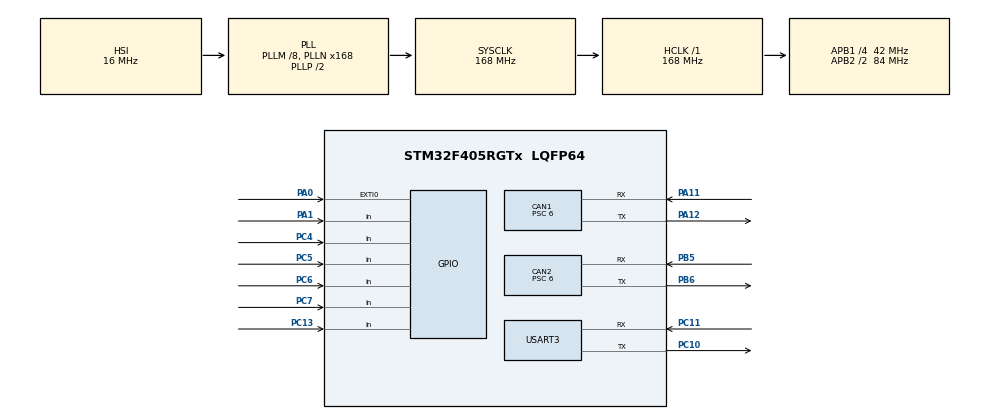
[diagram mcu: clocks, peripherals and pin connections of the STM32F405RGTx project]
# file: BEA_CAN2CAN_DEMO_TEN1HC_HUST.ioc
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ADC1.Channel-13\#ChannelRegularConversion=ADC_CHANNEL_TEMPSENSOR
ADC1.DMAContinuousRequests=ENABLE
ADC1.NbrOfConversion=1
ADC1.NbrOfConversionFlag=1
ADC1.Rank-13\#ChannelRegularConversion=1
ADC1.SamplingTime-13\#ChannelRegularConversion=ADC_SAMPLETIME_480CYCLES
ADC1.master=1
CAN1.BS1=CAN_BS1_10TQ
CAN1.BS2=CAN_BS2_3TQ
CAN1.CalculateBaudRate=500000
CAN1.CalculateTimeBit=2000
CAN1.CalculateTimeQuantum=142.85714285714286
CAN1.Prescaler=6
CAN1.SJW=CAN_SJW_2TQ
CAN2.BS1=CAN_BS1_10TQ
CAN2.BS2=CAN_BS2_3TQ
CAN2.CalculateBaudRate=500000
CAN2.CalculateTimeBit=2000
CAN2.CalculateTimeQuantum=142.85714285714286
CAN2.Prescaler=6
CAN2.SJW=CAN_SJW_2TQ
Dma.ADC1.0.Direction=DMA_PERIPH_TO_MEMORY
Dma.ADC1.0.FIFOMode=DMA_FIFOMODE_DISABLE
Dma.ADC1.0.Instance=DMA2_Stream0
Dma.ADC1.0.MemDataAlignment=DMA_MDATAALIGN_HALFWORD
Dma.ADC1.0.MemInc=DMA_MINC_ENABLE
Dma.ADC1.0.Mode=DMA_CIRCULAR
Dma.ADC1.0.PeriphDataAlignment=DMA_PDATAALIGN_HALFWORD
Dma.ADC1.0.PeriphInc=DMA_PINC_DISABLE
Dma.ADC1.0.Priority=DMA_PRIORITY_MEDIUM
Dma.Request0=ADC1
Mcu.Family=STM32F4
Mcu.Name=STM32F405RGTx
Mcu.Package=LQFP64
NVIC.CAN1_RX0_IRQn=true\:2\:0\:true\:false\:true\:true\:true\:true
NVIC.CAN2_RX0_IRQn=true\:2\:0\:true\:false\:true\:true\:true\:true
NVIC.DMA2_Stream0_IRQn=true\:0\:0\:false\:false\:true\:false\:true\:true
NVIC.EXTI0_IRQn=true\:1\:0\:true\:false\:true\:true\:true\:true
NVIC.PriorityGroup=NVIC_PRIORITYGROUP_4
NVIC.USART3_IRQn=true\:1\:0\:true\:false\:true\:true\:true\:true
PA0-WKUP.GPIO_ModeDefaultEXTI=GPIO_MODE_IT_FALLING
PA0-WKUP.GPIO_PuPd=GPIO_PULLUP
PA0-WKUP.Signal=GPXTI0
PA1.GPIO_PuPd=GPIO_PULLUP
PA1.Signal=GPIO_Input
PA11.Mode=CAN_Activate
PA11.Signal=CAN1_RX
PA12.Mode=CAN_Activate
PA12.Signal=CAN1_TX
PB5.Mode=CAN_Activate
PB5.Signal=CAN2_RX
PB6.Mode=CAN_Activate
PB6.Signal=CAN2_TX
PC10.Mode=Asynchronous
PC10.Signal=USART3_TX
PC11.Mode=Asynchronous
PC11.Signal=USART3_RX
PC13-ANTI_TAMP.GPIO_PuPd=GPIO_PULLUP
PC13-ANTI_TAMP.Signal=GPIO_Input
PC4.GPIO_PuPd=GPIO_PULLUP
PC4.Signal=GPIO_Input
PC5.GPIO_PuPd=GPIO_PULLUP
PC5.Signal=GPIO_Input
PC6.GPIO_PuPd=GPIO_PULLUP
PC6.Signal=GPIO_Input
PC7.GPIO_PuPd=GPIO_PULLUP
PC7.Signal=GPIO_Input
PH0-OSC_IN.Mode=HSE-External-Oscillator
PH0-OSC_IN.Signal=RCC_OSC_IN
PH1-OSC_OUT.Mode=HSE-External-Oscillator
PH1-OSC_OUT.Signal=RCC_OSC_OUT
ProjectManager.HeapSize=0x200
ProjectManager.StackSize=0x400
ProjectManager.TargetToolchain=STM32CubeIDE
RCC.48MHZClocksFreq_Value=84000000
RCC.AHBFreq_Value=168000000
RCC.APB1CLKDivider=RCC_HCLK_DIV4
RCC.APB1Freq_Value=42000000
RCC.APB1TimFreq_Value=84000000
RCC.APB2CLKDivider=RCC_HCLK_DIV2
RCC.APB2Freq_Value=84000000
RCC.APB2TimFreq_Value=168000000
RCC.CortexFreq_Value=168000000
RCC.HCLKFreq_Value=168000000
RCC.HSE_VALUE=8000000
RCC.HSI_VALUE=16000000
RCC.LSE_VALUE=32768
RCC.PLLM=8
RCC.PLLN=168
RCC.SYSCLKFreq_VALUE=168000000
RCC.SYSCLKSource=RCC_SYSCLKSOURCE_PLLCLK
RCC.VCOOutputFreq_Value=336000000
USART3.VirtualMode=VM_ASYNC
VP_ADC1_TempSens_Input.Mode=IN-TempSens
board=custom

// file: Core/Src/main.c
/* USER CODE BEGIN Header */
/**
  ******************************************************************************
  * @file           : main.c
  * @brief          : Main program body
  ******************************************************************************
  * @attention
  *
  * Copyright (c) 2023 STMicroelectronics.
  * All rights reserved.
  *
  * This software is licensed under terms that can be found in the LICENSE file
  * in the root directory of this software component.
  * If no LICENSE file comes with this software, it is provided AS-IS.
  *
  ******************************************************************************
  */
/* USER CODE END Header */
#include "main.h"
#include "lcd_hal.h"

/* USER CODE BEGIN PD */
/* =========================================================================
   CẤU HÌNH CHẾ ĐỘ HOẠT ĐỘNG:
   - 1 (HOME MODE): Ở nhà tự test -> CAN2 tự phát giả lập 0x0A2 (20ms).
   - 0 (EXAM / EXT MODE): Đi thi / Nối board ngoài -> CAN2 NGỪNG phát 0x0A2.
     Board ngoài sẽ phát 0x0A2. CAN2 vẫn chạy bình thường làm ECU cho bài UDS.
   ========================================================================= */
#define CONFIG_SIMULATE_CAN2_AT_HOME    1
/* USER CODE END PD */

ADC_HandleTypeDef hadc1;
DMA_HandleTypeDef hdma_adc1;

CAN_HandleTypeDef hcan1;
CAN_HandleTypeDef hcan2;

UART_HandleTypeDef huart3;

/* USER CODE BEGIN PV */
uint8_t uart3_receive;

extern uint8_t g_Security_Unlocked;
extern uint32_t g_Security_Unlock_Timestamp;

extern uint16_t g_Pending_New_CAN_ID;
extern uint8_t  g_Pending_ID_Ready;

uint16_t g_Current_CAN_ID = 0x012; // ID thuc te phat cua Bai 1
uint16_t g_TemperatureSensorRawValue_u16[1];

CAN_TxHeaderTypeDef CAN1_pHeader;
CAN_RxHeaderTypeDef CAN1_pHeaderRx;
CAN_FilterTypeDef CAN1_sFilterConfig;
CAN_TxHeaderTypeDef CAN2_pHeader;
CAN_RxHeaderTypeDef CAN2_pHeaderRx;
CAN_FilterTypeDef CAN2_sFilterConfig;
uint32_t CAN1_pTxMailbox;
uint32_t CAN2_pTxMailbox;

volatile uint16_t NumBytesReq = 0;
volatile uint8_t  g_Uds_Cmd_Ready = 0;
volatile uint32_t g_Last_Uart_Rx_Tick = 0;
uint8_t  REQ_BUFFER  [4096];
uint8_t  REQ_1BYTE_DATA;

uint8_t CAN1_DATA_TX[8] = {0x00,0x00,0x00,0x00,0x00,0x00,0x00,0x00};
uint8_t CAN1_DATA_RX[8] = {0x00,0x00,0x00,0x00,0x00,0x00,0x00,0x00};
uint8_t CAN2_DATA_TX[8] = {0x00,0x00,0x00,0x00,0x00,0x00,0x00,0x00};
uint8_t CAN2_DATA_RX[8] = {0x00,0x00,0x00,0x00,0x00,0x00,0x00,0x00};

uint16_t Num_Consecutive_Tester;
uint8_t  Flg_Consecutive = 0;

unsigned int TimeStamp;
// maximum characters send out via UART is 30
char bufsend[30]="XXX: D1 D2 D3 D4 D5 D6 D7 D8  ";
/* USER CODE END PV */

void SystemClock_Config(void);
static void MX_GPIO_Init(void);
static void MX_DMA_Init(void);
static void MX_CAN1_Init(void);
static void MX_CAN2_Init(void);
static void MX_USART3_UART_Init(void);
static void MX_ADC1_Init(void);
/* USER CODE BEGIN PFP */
void MX_CAN1_Setup();
void MX_CAN2_Setup();
void USART3_SendString(uint8_t *ch);
void PrintCANLog(uint16_t CANID, uint8_t * CAN_Frame);
void delay(uint16_t delay);
/* USER CODE END PFP */

/* USER CODE BEGIN 0 */
static void Process_UDS_Payload(uint8_t *payload, uint16_t payload_len)
{
    if (payload_len == 0) return;

    // A. Single Frame (1 den 7 byte - vi du: 22 01 23, 27 01, 2E 01 23 34 56)
    if (payload_len <= 7)
    {
        uint8_t tester_tx_data[8] = {0, 0, 0, 0, 0, 0, 0, 0};
        tester_tx_data[0] = (uint8_t)payload_len;
        for (int k = 0; k < payload_len; k++) {
            tester_tx_data[k + 1] = payload[k];
        }
        CAN1_pHeader.StdId = 0x712;
        CAN1_pHeader.ExtId = 0;
        CAN1_pHeader.IDE = CAN_ID_STD;
        CAN1_pHeader.RTR = CAN_RTR_DATA;
        CAN1_pHeader.DLC = 8;
        uint32_t retry = 50000;
        while (HAL_CAN_GetTxMailboxesFreeLevel(&hcan1) == 0 && retry--) {}
        HAL_CAN_AddTxMessage(&hcan1, &CAN1_pHeader, tester_tx_data, &CAN1_pTxMailbox);
    }
    // B. Multi-frame (8 byte tro len - vi du Send Key: 27 02 K0 K1 K2 K3 K4 K5 hoac payload dai)
    else
    {
        // 1. Gui First Frame (FF)
        uint8_t ff_data[8] = {0};
        ff_data[0] = 0x10 | ((payload_len >> 8) & 0x0F);
        ff_data[1] = (uint8_t)(payload_len & 0xFF);
        for (int k = 0; k < 6; k++) {
            ff_data[k + 2] = payload[k];
        }
        CAN1_pHeader.StdId = 0x712;
        CAN1_pHeader.ExtId = 0;
        CAN1_pHeader.IDE = CAN_ID_STD;
        CAN1_pHeader.RTR = CAN_RTR_DATA;
        CAN1_pHeader.DLC = 8;
        uint32_t retry = 50000;
        while (HAL_CAN_GetTxMailboxesFreeLevel(&hcan1) == 0 && retry--) {}
        HAL_CAN_AddTxMessage(&hcan1, &CAN1_pHeader, ff_data, &CAN1_pTxMailbox);

        HAL_Delay(10); // Cho ECU xu ly va tra loi Flow Control (neu can)

        // 2. Vong lap gui tat ca Consecutive Frames (CF) dong theo SN va so byte con lai
        uint16_t bytes_sent = 6;
        uint8_t sn = 1; // Sequence Number bat dau tu 1
        while (bytes_sent < payload_len) {
            uint8_t cf_data[8] = {0};
            cf_data[0] = 0x20 | (sn & 0x0F);
            uint8_t chunk_len = payload_len - bytes_sent;
            if (chunk_len > 7) {
                chunk_len = 7;
            }
            for (int k = 0; k < chunk_len; k++) {
                cf_data[k + 1] = payload[bytes_sent + k];
            }
            bytes_sent += chunk_len;
            sn = (sn + 1) & 0x0F;

            retry = 50000;
            while (HAL_CAN_GetTxMailboxesFreeLevel(&hcan1) == 0 && retry--) {}
            HAL_CAN_AddTxMessage(&hcan1, &CAN1_pHeader, cf_data, &CAN1_pTxMailbox);
            if (bytes_sent < payload_len) {
                HAL_Delay(5);
            }
        }
    }
}
/* USER CODE END 0 */

int main(void)
{

  /* MCU Configuration--------------------------------------------------------*/

  /* Reset of all peripherals, Initializes the Flash interface and the Systick. */
  HAL_Init();

  /* Configure the system clock */
  SystemClock_Config();

  /* Initialize all configured peripherals */
  MX_GPIO_Init();
  MX_DMA_Init();
  MX_CAN1_Init();
  MX_CAN2_Init();
  MX_USART3_UART_Init();
  MX_ADC1_Init();
  /* USER CODE BEGIN 2 */
  MX_CAN1_Setup();
  MX_CAN2_Setup();
  HAL_UART_Receive_IT(&huart3, &REQ_1BYTE_DATA, 1);
  HAL_ADC_Start_DMA(&hadc1, (uint32_t*)g_TemperatureSensorRawValue_u16, 1);
  /* USER CODE END 2 */

  /* Infinite loop */
  /* USER CODE BEGIN WHILE */
  CAN1_pHeader.StdId = 0x012;
  PrintCANLog(CAN1_pHeader.StdId, &CAN1_DATA_TX[0]);

  // 1. Khoi tao LCD ST7789 va nen den
  //Switch_To_LCD();
  //LCD_BKL_H();
  LCD_Init();
  LCD_Init_Dashboard(CONFIG_SIMULATE_CAN2_AT_HOME);

  // 3. Chuyen PB6 sang CAN2_TX de CAN2 phat tin 0x0A2 va phan hoi UDS
  //Switch_To_CAN2();

  while (1)
  {
    /* USER CODE END WHILE */

    /* USER CODE BEGIN 3 */

    //============================================
    // UU TIEN 1: XU LY UDS DIAGNOSTIC TU PC NGAY LAP TUC
    //============================================
    // TH1: Da nhan du tron ven khung Bosch (0F FF F0 ... F0 00 0F) -> Xu ly tuc thi (0ms delay)
    if (g_Uds_Cmd_Ready == 1)
    {
      if (NumBytesReq >= 6) {
          Process_UDS_Payload(&REQ_BUFFER[3], NumBytesReq - 6);
      }
      NumBytesReq = 0;
      g_Uds_Cmd_Ready = 0;
    }
    // TH2: Timeout sau 15ms im lang neu la lenh tho khong khung
    else if (NumBytesReq > 0 && (HAL_GetTick() - g_Last_Uart_Rx_Tick) >= 15)
    {
      if (NumBytesReq >= 6 &&
          REQ_BUFFER[0] == 0x0F && REQ_BUFFER[1] == 0xFF && REQ_BUFFER[2] == 0xF0 &&
          REQ_BUFFER[NumBytesReq - 3] == 0xF0 && REQ_BUFFER[NumBytesReq - 2] == 0x00 && REQ_BUFFER[NumBytesReq - 1] == 0x0F)
      {
          Process_UDS_Payload(&REQ_BUFFER[3], NumBytesReq - 6);
      }
      else if (REQ_BUFFER[0] == 0x0F && REQ_BUFFER[1] == 0xFF && REQ_BUFFER[2] == 0xF0)
      {
          // Goi tin SOF bi dut quang hoac khong co EOF -> Bo qua de bao ve
      }
      else
      {
          // Lenh tho khong khung
          Process_UDS_Payload(&REQ_BUFFER[0], NumBytesReq);
      }
      NumBytesReq = 0;
      g_Uds_Cmd_Ready = 0;
    }

    // ============================================
    // CAP NHAT LCD MOI 500ms (Dashboard giam sat)
    // ============================================
    static uint32_t last_lcd_write = 0;
    if ((HAL_GetTick() - last_lcd_write) >= 500) {
        last_lcd_write = HAL_GetTick();

        // Doc nhiet do ADC thuc te (DID 0x0124)
        uint32_t v_sense = (g_TemperatureSensorRawValue_u16[0] * 3300) / 4095;
        uint8_t real_temp = (uint8_t)(((v_sense - 760) * 10) / 25 + 25);
        uint32_t uptime_sec = HAL_GetTick() / 1000;

        LCD_Update_Dashboard(uptime_sec,
                             CAN1_DATA_RX,
                             (uint16_t)g_Current_CAN_ID,
                             CAN1_DATA_TX,
                             CAN1_DATA_TX[6],
                             real_temp,
                             g_Security_Unlocked,
                             (uint16_t)g_Pending_New_CAN_ID,
                             g_Pending_ID_Ready);
    }

    /* Tu dong khoa va tat LED sau 20s (Service 27)*/
    if (g_Security_Unlocked == 1) {
      if ((HAL_GetTick() - g_Security_Unlock_Timestamp) >= 20000) {
        g_Security_Unlocked = 0; // Tu dong khoa lai
        HAL_GPIO_WritePin(GPIOB, GPIO_PIN_0, GPIO_PIN_RESET); // Tat led 0
      }
    }

    //============================================
    // BAI 1: CAN COMMUNICATION
    //============================================

	  static uint32_t last_tick_can1 = 0;

    if ((TimeStamp - last_tick_can1) >= 50)
    {
      last_tick_can1 += 50; // Reset lai moc thoi gian

      // 1. Tinh toan du lieu theo yeu cau de bai
      CAN1_DATA_TX[0] = CAN1_DATA_RX[0];
      CAN1_DATA_TX[1] = CAN1_DATA_RX[1];
      CAN1_DATA_TX[2] = CAN1_DATA_RX[0] + CAN1_DATA_RX[1];
      CAN1_DATA_TX[3] = 0x00;
      CAN1_DATA_TX[4] = 0x00;
      CAN1_DATA_TX[5] = 0x00;
      // Tinh  CRC-8 cho 6 byte dau tien tu byte 0 den byte 5 roi nhet vao byte 6
      CAN1_DATA_TX[6] = Caculate_CRC8_SAE_J1850(CAN1_DATA_TX, 6);
      CAN1_DATA_TX[7] = 0x00;

      // 2. Gan nhan (TX Header) - Tu dong chon Standard 11-bit hoac Extended 29-bit
      if (g_Current_CAN_ID > 0x7FF) {
          CAN1_pHeader.StdId = 0;
          CAN1_pHeader.ExtId = g_Current_CAN_ID;
          CAN1_pHeader.IDE = CAN_ID_EXT;
      } else {
          CAN1_pHeader.StdId = g_Current_CAN_ID;
          CAN1_pHeader.ExtId = 0;
          CAN1_pHeader.IDE = CAN_ID_STD;
      }
      CAN1_pHeader.RTR = CAN_RTR_DATA;
      CAN1_pHeader.DLC = 8;

      // 3. Ra lenh truyen goi tin vao mang can
      uint32_t retry = 50000;
      while (HAL_CAN_GetTxMailboxesFreeLevel(&hcan1) == 0 && retry--) {}
      HAL_CAN_AddTxMessage(&hcan1, &CAN1_pHeader, CAN1_DATA_TX, &CAN1_pTxMailbox);

      // 4. In ra man hinh Terminal may tinh qua UART de quan sat (chi 1 lan moi 1000ms)
//      static uint32_t last_print_tick = 0;
//      if (TimeStamp - last_print_tick >= 1000) {
//        last_print_tick = TimeStamp;
//        PrintCANLog(g_Current_CAN_ID, CAN1_DATA_TX);
//      }
    }

#if (CONFIG_SIMULATE_CAN2_AT_HOME == 1)
    static uint32_t last_tick_can2 = 0;
    static uint8_t can2_msg_counter = 0;
    if (TimeStamp - last_tick_can2 >= 20)
    {
      last_tick_can2 = TimeStamp;

      // Fake du lieu gia vao 2 byte dau cua can 2
      CAN2_DATA_TX[0] = 0x22;
      CAN2_DATA_TX[1] = 0x33;
      CAN2_DATA_TX[2] = 0x00;
      CAN2_DATA_TX[3] = 0x00;
      CAN2_DATA_TX[4] = 0x00;
      CAN2_DATA_TX[5] = 0x00;
      CAN2_DATA_TX[6] = 0x00;
      // Xu ly counter cho byte 7 (0x0 - 0xF)
      CAN2_DATA_TX[7] = can2_msg_counter;
      can2_msg_counter++;
      if (can2_msg_counter > 15)
    	can2_msg_counter = 0;

      // CAN2 gui di voi ID = 0xA2
      CAN2_pHeader.StdId = 0xA2;
      CAN2_pHeader.IDE = CAN_ID_STD;
      CAN2_pHeader.RTR = CAN_RTR_DATA;
      CAN2_pHeader.DLC = 8;

      // Gui du lieu vao mang can
      uint32_t retry2 = 50000;
      while (HAL_CAN_GetTxMailboxesFreeLevel(&hcan2) == 0 && retry2--) {}
      HAL_CAN_AddTxMessage(&hcan2, &CAN2_pHeader, CAN2_DATA_TX, &CAN2_pTxMailbox);
    }
#endif

  /* USER CODE END 3 */
  }
}

void SystemClock_Config(void)
{
  RCC_OscInitTypeDef RCC_OscInitStruct = {0};
  RCC_ClkInitTypeDef RCC_ClkInitStruct = {0};

  /** Configure the main internal regulator output voltage
  */
  __HAL_RCC_PWR_CLK_ENABLE();
  __HAL_PWR_VOLTAGESCALING_CONFIG(PWR_REGULATOR_VOLTAGE_SCALE1);

  /** Initializes the RCC Oscillators according to the specified parameters
  * in the RCC_OscInitTypeDef structure.
  */
  RCC_OscInitStruct.OscillatorType = RCC_OSCILLATORTYPE_HSI;
  RCC_OscInitStruct.HSIState = RCC_HSI_ON;
  RCC_OscInitStruct.HSICalibrationValue = RCC_HSICALIBRATION_DEFAULT;
  RCC_OscInitStruct.PLL.PLLState = RCC_PLL_ON;
  RCC_OscInitStruct.PLL.PLLSource = RCC_PLLSOURCE_HSI;
  RCC_OscInitStruct.PLL.PLLM = 8;
  RCC_OscInitStruct.PLL.PLLN = 168;
  RCC_OscInitStruct.PLL.PLLP = RCC_PLLP_DIV2;
  RCC_OscInitStruct.PLL.PLLQ = 4;
  if (HAL_RCC_OscConfig(&RCC_OscInitStruct) != HAL_OK)
  {
    Error_Handler();
  }

  /** Initializes the CPU, AHB and APB buses clocks
  */
  RCC_ClkInitStruct.ClockType = RCC_CLOCKTYPE_HCLK|RCC_CLOCKTYPE_SYSCLK
                              |RCC_CLOCKTYPE_PCLK1|RCC_CLOCKTYPE_PCLK2;
  RCC_ClkInitStruct.SYSCLKSource = RCC_SYSCLKSOURCE_PLLCLK;
  RCC_ClkInitStruct.AHBCLKDivider = RCC_SYSCLK_DIV1;
  RCC_ClkInitStruct.APB1CLKDivider = RCC_HCLK_DIV4;
  RCC_ClkInitStruct.APB2CLKDivider = RCC_HCLK_DIV2;

  if (HAL_RCC_ClockConfig(&RCC_ClkInitStruct, FLASH_LATENCY_5) != HAL_OK)
  {
    Error_Handler();
  }
}

static void MX_ADC1_Init(void)
{

  ADC_ChannelConfTypeDef sConfig = {0};

  /** Configure the global features of the ADC (Clock, Resolution, Data Alignment and number of conversion)
  */
  hadc1.Instance = ADC1;
  hadc1.Init.ClockPrescaler = ADC_CLOCK_SYNC_PCLK_DIV4;
  hadc1.Init.Resolution = ADC_RESOLUTION_12B;
  hadc1.Init.ScanConvMode = DISABLE;
  hadc1.Init.ContinuousConvMode = DISABLE;
  hadc1.Init.DiscontinuousConvMode = DISABLE;
  hadc1.Init.ExternalTrigConvEdge = ADC_EXTERNALTRIGCONVEDGE_NONE;
  hadc1.Init.ExternalTrigConv = ADC_SOFTWARE_START;
  hadc1.Init.DataAlign = ADC_DATAALIGN_RIGHT;
  hadc1.Init.NbrOfConversion = 1;
  hadc1.Init.DMAContinuousRequests = ENABLE;
  hadc1.Init.EOCSelection = ADC_EOC_SINGLE_CONV;
  if (HAL_ADC_Init(&hadc1) != HAL_OK)
  {
    Error_Handler();
  }

  /** Configure for the selected ADC regular channel its corresponding rank in the sequencer and its sample time.
  */
  sConfig.Channel = ADC_CHANNEL_TEMPSENSOR;
  sConfig.Rank = 1;
  sConfig.SamplingTime = ADC_SAMPLETIME_480CYCLES;
  if (HAL_ADC_ConfigChannel(&hadc1, &sConfig) != HAL_OK)
  {
    Error_Handler();
  }

}

static void MX_CAN1_Init(void)
{

  hcan1.Instance = CAN1;
  hcan1.Init.Prescaler = 6;
  hcan1.Init.Mode = CAN_MODE_NORMAL;
  hcan1.Init.SyncJumpWidth = CAN_SJW_2TQ;
  hcan1.Init.TimeSeg1 = CAN_BS1_10TQ;
  hcan1.Init.TimeSeg2 = CAN_BS2_3TQ;
  hcan1.Init.TimeTriggeredMode = DISABLE;
  hcan1.Init.AutoBusOff = DISABLE;
  hcan1.Init.AutoWakeUp = DISABLE;
  hcan1.Init.AutoRetransmission = DISABLE;
  hcan1.Init.ReceiveFifoLocked = DISABLE;
  hcan1.Init.TransmitFifoPriority = DISABLE;
  if (HAL_CAN_Init(&hcan1) != HAL_OK)
  {
    Error_Handler();
  }

}

static void MX_CAN2_Init(void)
{

  hcan2.Instance = CAN2;
  hcan2.Init.Prescaler = 6;
  hcan2.Init.Mode = CAN_MODE_NORMAL;
  hcan2.Init.SyncJumpWidth = CAN_SJW_2TQ;
  hcan2.Init.TimeSeg1 = CAN_BS1_10TQ;
  hcan2.Init.TimeSeg2 = CAN_BS2_3TQ;
  hcan2.Init.TimeTriggeredMode = DISABLE;
  hcan2.Init.AutoBusOff = DISABLE;
  hcan2.Init.AutoWakeUp = DISABLE;
  hcan2.Init.AutoRetransmission = DISABLE;
  hcan2.Init.ReceiveFifoLocked = DISABLE;
  hcan2.Init.TransmitFifoPriority = DISABLE;
  if (HAL_CAN_Init(&hcan2) != HAL_OK)
  {
    Error_Handler();
  }

}

static void MX_USART3_UART_Init(void)
{

  huart3.Instance = USART3;
  huart3.Init.BaudRate = 115200;
  huart3.Init.WordLength = UART_WORDLENGTH_8B;
  huart3.Init.StopBits = UART_STOPBITS_1;
  huart3.Init.Parity = UART_PARITY_NONE;
  huart3.Init.Mode = UART_MODE_TX_RX;
  huart3.Init.HwFlowCtl = UART_HWCONTROL_NONE;
  huart3.Init.OverSampling = UART_OVERSAMPLING_16;
  if (HAL_UART_Init(&huart3) != HAL_OK)
  {
    Error_Handler();
  }

}

static void MX_DMA_Init(void)
{

  /* DMA controller clock enable */
  __HAL_RCC_DMA2_CLK_ENABLE();

  /* DMA interrupt init */
  /* DMA2_Stream0_IRQn interrupt configuration */
  HAL_NVIC_SetPriority(DMA2_Stream0_IRQn, 0, 0);
  HAL_NVIC_EnableIRQ(DMA2_Stream0_IRQn);

}

static void MX_GPIO_Init(void)
{
  GPIO_InitTypeDef GPIO_InitStruct = {0};

  /* GPIO Ports Clock Enable */
  __HAL_RCC_GPIOC_CLK_ENABLE();
  __HAL_RCC_GPIOH_CLK_ENABLE();
  __HAL_RCC_GPIOA_CLK_ENABLE();
  __HAL_RCC_GPIOB_CLK_ENABLE();

  /*Configure GPIO pins : PC13 PC4 PC5 PC6
                           PC7 */
  GPIO_InitStruct.Pin = GPIO_PIN_13|GPIO_PIN_4|GPIO_PIN_5|GPIO_PIN_6
                          |GPIO_PIN_7;
  GPIO_InitStruct.Mode = GPIO_MODE_INPUT;
  GPIO_InitStruct.Pull = GPIO_PULLUP;
  HAL_GPIO_Init(GPIOC, &GPIO_InitStruct);

  /*Configure GPIO pin : PA0 */
  GPIO_InitStruct.Pin = GPIO_PIN_0;
  GPIO_InitStruct.Mode = GPIO_MODE_IT_FALLING;
  GPIO_InitStruct.Pull = GPIO_PULLUP;
  HAL_GPIO_Init(GPIOA, &GPIO_InitStruct);

  /*Configure GPIO pin : PA1 */
  GPIO_InitStruct.Pin = GPIO_PIN_1;
  GPIO_InitStruct.Mode = GPIO_MODE_INPUT;
  GPIO_InitStruct.Pull = GPIO_PULLUP;
  HAL_GPIO_Init(GPIOA, &GPIO_InitStruct);

  /* EXTI interrupt init*/
  HAL_NVIC_SetPriority(EXTI0_IRQn, 1, 0);
  HAL_NVIC_EnableIRQ(EXTI0_IRQn);

  /* USER CODE BEGIN MX_GPIO_Init_2 */

  /*Configure GPIO pin: PB0 (LED0) and PB1 (LED1)*/
  GPIO_InitStruct.Pin = GPIO_PIN_0 | GPIO_PIN_1;
  GPIO_InitStruct.Mode = GPIO_MODE_OUTPUT_PP;
  GPIO_InitStruct.Pull = GPIO_NOPULL;
  GPIO_InitStruct.Speed = GPIO_SPEED_FREQ_LOW;
  HAL_GPIO_Init(GPIOB, &GPIO_InitStruct);

  // Tat LED mac dinh khi khoi dong
  HAL_GPIO_WritePin(GPIOB, GPIO_PIN_0 | GPIO_PIN_1, GPIO_PIN_RESET);

  /* USER CODE END MX_GPIO_Init_2 */
}

/* USER CODE BEGIN 4 */

void MX_CAN1_Setup()
{
  // 1. cau hinh filter cho can 1
  CAN1_sFilterConfig.FilterActivation = CAN_FILTER_ENABLE;
  CAN1_sFilterConfig.FilterBank = 0;
  CAN1_sFilterConfig.FilterFIFOAssignment = CAN_RX_FIFO0;

  // Cau hinh Filter 16-bit che do list (Cho phep 4 ID di qua)
  CAN1_sFilterConfig.FilterMode = CAN_FILTERMODE_IDLIST;
  CAN1_sFilterConfig.FilterScale = CAN_FILTERSCALE_16BIT;

  // Mo cua filter cho ID cua bai 1 (0x0A2)
  CAN1_sFilterConfig.FilterIdHigh = 0x0A2 << 5;

  // Mo cua filter cho ID cua bai 2 (0x7A2 - Node 1 cho phan hoi tu ECU)
  CAN1_sFilterConfig.FilterIdLow = 0x7A2 << 5;

  // Cac slot con lai khong dung
  CAN1_sFilterConfig.FilterMaskIdHigh = 0x0000;
  CAN1_sFilterConfig.FilterMaskIdLow = 0x0000;

  CAN1_sFilterConfig.SlaveStartFilterBank = 14;

  // Ap dung filter
  if (HAL_CAN_ConfigFilter(&hcan1, &CAN1_sFilterConfig) != HAL_OK)
  {
    Error_Handler();
  }

  // 2. Khoi dong phan cung can 1
  if (HAL_CAN_Start(&hcan1) != HAL_OK)
  {
    Error_Handler();
  }

  // 3. Cho phep kich hoat ngat khi co tin nahn den
  if(HAL_CAN_ActivateNotification(&hcan1, CAN_IT_RX_FIFO0_MSG_PENDING) != HAL_OK)
  {
    Error_Handler();
  }

}

void MX_CAN2_Setup()
{
  CAN2_sFilterConfig.FilterActivation = CAN_FILTER_ENABLE;
  CAN2_sFilterConfig.FilterBank = 14;
  CAN2_sFilterConfig.FilterFIFOAssignment = CAN_RX_FIFO0;

  CAN2_sFilterConfig.FilterMode = CAN_FILTERMODE_IDLIST;
  CAN2_sFilterConfig.FilterScale = CAN_FILTERSCALE_16BIT;

  // Mo cua cho ID cua bai 1 (0x012)
  CAN2_sFilterConfig.FilterIdHigh = 0x012 << 5;

  // Mo cua cho ID cua bai 2 (0x712 - Node 2 nhan lenh tu tester)
  CAN2_sFilterConfig.FilterIdLow = 0x712 << 5;

  // Cac slot con lai khong dung
  CAN2_sFilterConfig.FilterMaskIdHigh = 0x0000;
  CAN2_sFilterConfig.FilterMaskIdLow = 0x0000;

  CAN2_sFilterConfig.SlaveStartFilterBank = 14;

  HAL_CAN_ConfigFilter(&hcan2, &CAN2_sFilterConfig);
  HAL_CAN_Start(&hcan2);
  HAL_CAN_ActivateNotification(&hcan2, CAN_IT_RX_FIFO0_MSG_PENDING);

}

void HAL_ADC_ConvCpltCallback(ADC_HandleTypeDef *hadc)
{
	HAL_ADC_Start_DMA(&hadc1, (uint32_t*)g_TemperatureSensorRawValue_u16, 1);
}

void USART3_SendString(uint8_t *ch)
{
   while(*ch!=0)
   {
      HAL_UART_Transmit(&huart3, ch, 1,HAL_MAX_DELAY);
      ch++;
   }
}

void PrintCANLog(uint16_t CANID, uint8_t * CAN_Frame)
{
    char printBuf[100]; // Tạo một mảng đủ rộng để chứa toàn bộ câu

    // Gộp tất cả TimeStamp, ID và 8 byte Data vào chung 1 câu duy nhất, có sẵn dấu xuống dòng \r\n
    if (CANID > 0x7FF) {
        sprintf(printBuf, "[%u ms] ID: %04X | Data: %02X %02X %02X %02X %02X %02X %02X %02X \r\n",
                TimeStamp, CANID,
                CAN_Frame[0], CAN_Frame[1], CAN_Frame[2], CAN_Frame[3],
                CAN_Frame[4], CAN_Frame[5], CAN_Frame[6], CAN_Frame[7]);
    } else {
        sprintf(printBuf, "[%u ms] ID: %03X | Data: %02X %02X %02X %02X %02X %02X %02X %02X \r\n",
                TimeStamp, CANID,
                CAN_Frame[0], CAN_Frame[1], CAN_Frame[2], CAN_Frame[3],
                CAN_Frame[4], CAN_Frame[5], CAN_Frame[6], CAN_Frame[7]);
    }

    // Bắn 1 phát duy nhất lên máy tính
    USART3_SendString((uint8_t*)printBuf);
}

void HAL_UART_RxCpltCallback(UART_HandleTypeDef *huart)
{
    if (huart->Instance == USART3)
    {
        g_Last_Uart_Rx_Tick = HAL_GetTick();

        if (!g_Uds_Cmd_Ready && NumBytesReq < sizeof(REQ_BUFFER))
        {
            REQ_BUFFER[NumBytesReq] = REQ_1BYTE_DATA;
            NumBytesReq++;

            // Kiem tra da nhan du tron ven khung dong goi Bosch chua:
            // SOF (0F FF F0) + Payload (>= 1) + EOF (F0 00 0F) -> NumBytesReq >= 7
            if (NumBytesReq >= 7)
            {
                if (REQ_BUFFER[0] == 0x0F && REQ_BUFFER[1] == 0xFF && REQ_BUFFER[2] == 0xF0 &&
                    REQ_BUFFER[NumBytesReq - 3] == 0xF0 &&
                    REQ_BUFFER[NumBytesReq - 2] == 0x00 &&
                    REQ_BUFFER[NumBytesReq - 1] == 0x0F)
                {
                    g_Uds_Cmd_Ready = 1; // Khung hoan chinh tu DiagChecker!
                }
            }
        }
    }
}

void HAL_UART_ErrorCallback(UART_HandleTypeDef *huart)
{
    if (huart->Instance == USART3)
    {
        __HAL_UART_CLEAR_OREFLAG(huart);
        __HAL_UART_CLEAR_NEFLAG(huart);
        __HAL_UART_CLEAR_FEFLAG(huart);
        HAL_UART_Receive_IT(huart, &REQ_1BYTE_DATA, 1);
    }
}

void delay(uint16_t delay)
{
	HAL_Delay(delay);
}

uint8_t Caculate_CRC8_SAE_J1850(uint8_t *data, uint8_t length)
{
  uint8_t crc = 0xFF;
  for (uint8_t i = 0; i < length; i++)
  {
    crc ^=data[i];
    for (uint8_t j = 0; j < 8; j++)
    {
      if ((crc & 0x80) != 0) {
        crc = (uint8_t)((crc << 1) ^ 0x1D);
      } else {
        crc <<= 1;
      }
    }
  }
  return crc ^ 0xFF;
}

/* USER CODE END 4 */

void Error_Handler(void)
{
  __disable_irq();
  while (1)
  {
  }
}
